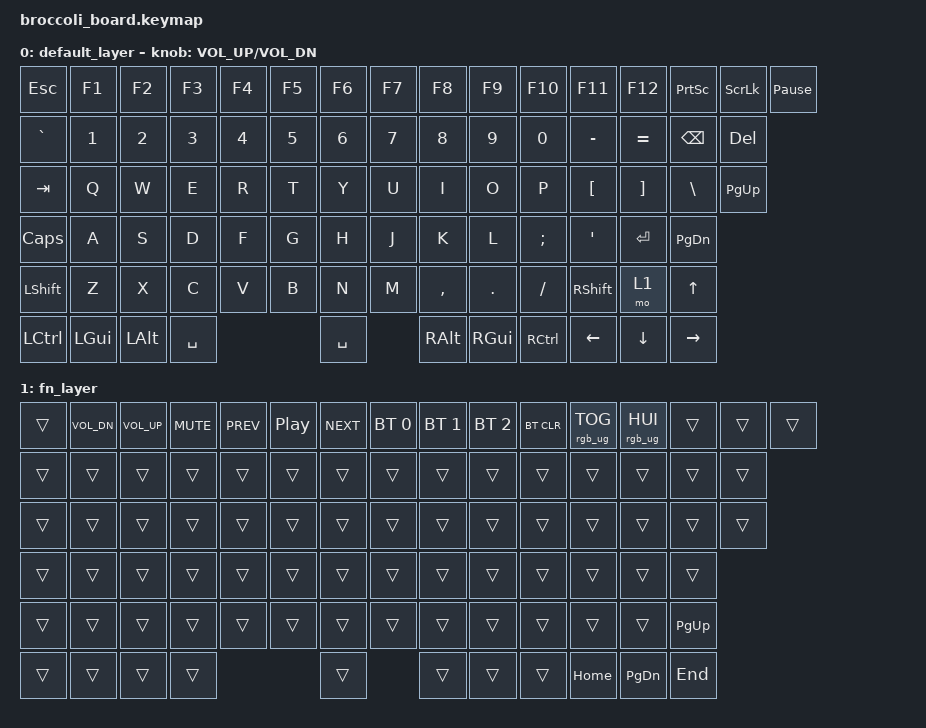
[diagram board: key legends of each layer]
#include <behaviors.dtsi>
#include <dt-bindings/zmk/keys.h>
#include <dt-bindings/zmk/bt.h>
#include <dt-bindings/zmk/rgb.h>

/ {
    keymap {
        compatible = "zmk,keymap";

        default_layer {
            bindings = <
                &kp ESC   &kp F1    &kp F2    &kp F3    &kp F4    &kp F5    &kp F6    &kp F7    &kp F8    &kp F9    &kp F10   &kp F11   &kp F12   &kp PSCRN &kp SLCK  &kp PAUSE_BREAK
                &kp GRAVE &kp N1    &kp N2    &kp N3    &kp N4    &kp N5    &kp N6    &kp N7    &kp N8    &kp N9    &kp N0    &kp MINUS &kp EQUAL &kp BSPC  &kp DEL
                &kp TAB   &kp Q     &kp W     &kp E     &kp R     &kp T     &kp Y     &kp U     &kp I     &kp O     &kp P     &kp LBKT  &kp RBKT  &kp BSLH  &kp PG_UP
                &kp CAPS  &kp A     &kp S     &kp D     &kp F     &kp G     &kp H     &kp J     &kp K     &kp L     &kp SEMI  &kp SQT   &kp ENTER &kp PG_DN
                &kp LSHFT &kp Z     &kp X     &kp C     &kp V     &kp B     &kp N     &kp M     &kp COMMA &kp DOT   &kp FSLH  &kp RSHFT &mo 1     &kp UP
                &kp LCTRL &kp LGUI  &kp LALT  &kp SPACE                   &kp SPACE           &kp RALT  &kp RGUI  &kp RCTRL &kp LEFT  &kp DOWN  &kp RIGHT
            >;
            sensor-bindings = <&inc_dec_kp C_VOL_UP C_VOL_DN>;
        };

        fn_layer {
            bindings = <
                &trans    &kp C_VOL_DN &kp C_VOL_UP &kp C_MUTE &kp C_PREV &kp C_PP   &kp C_NEXT &bt BT_SEL 0 &bt BT_SEL 1 &bt BT_SEL 2 &bt BT_CLR &rgb_ug RGB_TOG &rgb_ug RGB_HUI &trans &trans &trans
                &trans    &trans       &trans       &trans     &trans     &trans     &trans     &trans       &trans       &trans       &trans     &trans         &trans         &trans &trans
                &trans    &trans       &trans       &trans     &trans     &trans     &trans     &trans       &trans       &trans       &trans     &trans         &trans         &trans &trans
                &trans    &trans       &trans       &trans     &trans     &trans     &trans     &trans       &trans       &trans       &trans     &trans         &trans         &trans
                &trans    &trans       &trans       &trans     &trans     &trans     &trans     &trans       &trans       &trans       &trans     &trans         &trans         &kp PG_UP
                &trans    &trans       &trans       &trans                           &trans                 &trans       &trans       &trans     &kp HOME       &kp PG_DN      &kp END
            >;
        };
    };
};
